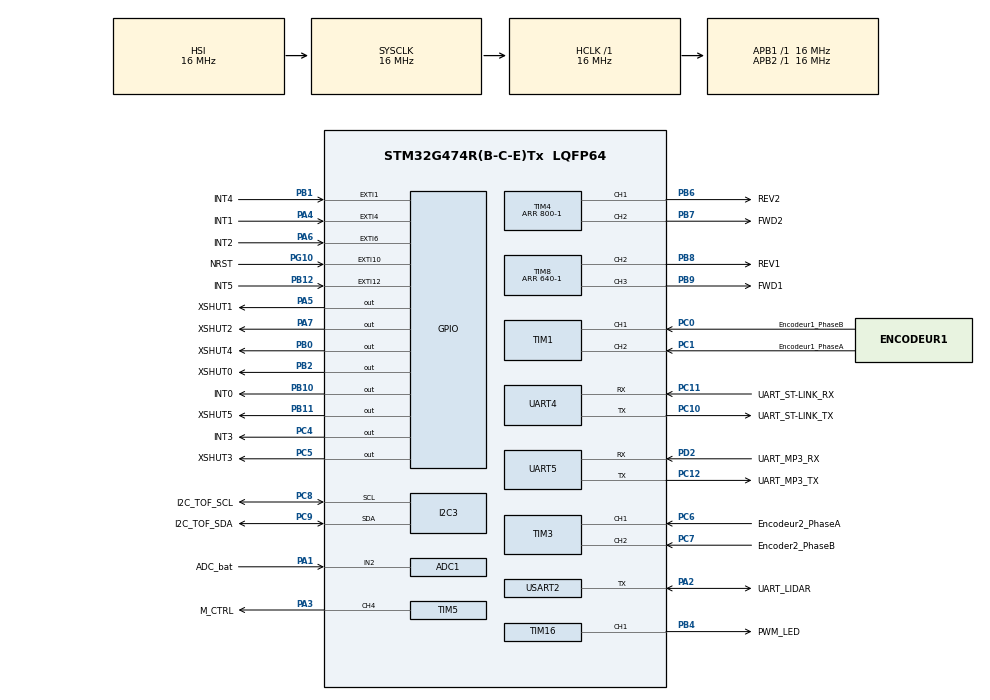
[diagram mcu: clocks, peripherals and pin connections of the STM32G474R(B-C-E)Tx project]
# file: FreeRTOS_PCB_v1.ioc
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ADC1.Channel-0\#ChannelRegularConversion=ADC_CHANNEL_2
ADC1.NbrOfConversionFlag=1
ADC1.OffsetNumber-0\#ChannelRegularConversion=ADC_OFFSET_NONE
ADC1.Rank-0\#ChannelRegularConversion=1
ADC1.SamplingTime-0\#ChannelRegularConversion=ADC_SAMPLETIME_2CYCLES_5
ADC1.master=1
Dma.Request0=USART2_RX
Dma.Request1=TIM16_CH1
Dma.TIM16_CH1.1.Direction=DMA_MEMORY_TO_PERIPH
Dma.TIM16_CH1.1.EventEnable=DISABLE
Dma.TIM16_CH1.1.Instance=DMA1_Channel2
Dma.TIM16_CH1.1.MemDataAlignment=DMA_MDATAALIGN_BYTE
Dma.TIM16_CH1.1.MemInc=DMA_MINC_ENABLE
Dma.TIM16_CH1.1.Mode=DMA_NORMAL
Dma.TIM16_CH1.1.PeriphDataAlignment=DMA_PDATAALIGN_BYTE
Dma.TIM16_CH1.1.PeriphInc=DMA_PINC_DISABLE
Dma.TIM16_CH1.1.Polarity=HAL_DMAMUX_REQ_GEN_RISING
Dma.TIM16_CH1.1.Priority=DMA_PRIORITY_VERY_HIGH
Dma.TIM16_CH1.1.RequestNumber=1
Dma.TIM16_CH1.1.SignalID=NONE
Dma.TIM16_CH1.1.SyncEnable=DISABLE
Dma.TIM16_CH1.1.SyncPolarity=HAL_DMAMUX_SYNC_NO_EVENT
Dma.TIM16_CH1.1.SyncRequestNumber=1
Dma.TIM16_CH1.1.SyncSignalID=NONE
Dma.USART2_RX.0.Direction=DMA_PERIPH_TO_MEMORY
Dma.USART2_RX.0.EventEnable=DISABLE
Dma.USART2_RX.0.Instance=DMA1_Channel1
Dma.USART2_RX.0.MemDataAlignment=DMA_MDATAALIGN_BYTE
Dma.USART2_RX.0.MemInc=DMA_MINC_ENABLE
Dma.USART2_RX.0.Mode=DMA_CIRCULAR
Dma.USART2_RX.0.PeriphDataAlignment=DMA_PDATAALIGN_BYTE
Dma.USART2_RX.0.PeriphInc=DMA_PINC_DISABLE
Dma.USART2_RX.0.Polarity=HAL_DMAMUX_REQ_GEN_RISING
Dma.USART2_RX.0.Priority=DMA_PRIORITY_HIGH
Dma.USART2_RX.0.RequestNumber=1
Dma.USART2_RX.0.SignalID=NONE
Dma.USART2_RX.0.SyncEnable=DISABLE
Dma.USART2_RX.0.SyncPolarity=HAL_DMAMUX_SYNC_NO_EVENT
Dma.USART2_RX.0.SyncRequestNumber=1
Dma.USART2_RX.0.SyncSignalID=NONE
FREERTOS.Tasks01=defaultTask,0,128,StartDefaultTask,Default,NULL,Dynamic,NULL,NULL
FREERTOS.configTOTAL_HEAP_SIZE=16384
I2C3.Timing=0x00503D58
Mcu.Family=STM32G4
Mcu.Name=STM32G474R(B-C-E)Tx
Mcu.Package=LQFP64
NVIC.ADC1_2_IRQn=true\:5\:0\:false\:false\:true\:true\:true\:true\:true
NVIC.DMA1_Channel1_IRQn=true\:5\:0\:false\:false\:true\:true\:false\:true\:true
NVIC.DMA1_Channel2_IRQn=true\:5\:0\:false\:false\:true\:true\:false\:true\:true
NVIC.EXTI15_10_IRQn=true\:5\:0\:false\:false\:true\:true\:true\:true\:true
NVIC.EXTI1_IRQn=true\:5\:0\:false\:false\:true\:true\:true\:true\:true
NVIC.EXTI4_IRQn=true\:5\:0\:false\:false\:true\:true\:true\:true\:true
NVIC.EXTI9_5_IRQn=true\:5\:0\:false\:false\:true\:true\:true\:true\:true
NVIC.PriorityGroup=NVIC_PRIORITYGROUP_4
NVIC.USART2_IRQn=true\:5\:0\:false\:false\:true\:true\:true\:true\:true
PA1.GPIO_Label=ADC_bat
PA1.Mode=IN2-Single-Ended
PA1.Signal=ADC1_IN2
PA13.Mode=Serial_Wire
PA13.Signal=SYS_JTMS-SWDIO
PA14.Mode=Serial_Wire
PA14.Signal=SYS_JTCK-SWCLK
PA2.GPIO_Label=UART_LIDAR
PA2.Mode=Half_duplex(single_wire_mode)
PA2.Signal=USART2_TX
PA3.GPIO_Label=M_CTRL
PA3.Signal=S_TIM5_CH4
PA4.GPIO_Label=INT1
PA4.Signal=GPXTI4
PA5.GPIO_Label=XSHUT1
PA5.Signal=GPIO_Output
PA6.GPIO_Label=INT2
PA6.Signal=GPXTI6
PA7.GPIO_Label=XSHUT2
PA7.Signal=GPIO_Output
PB0.GPIO_Label=XSHUT4
PB0.Signal=GPIO_Output
PB1.GPIO_Label=INT4
PB1.Signal=GPXTI1
PB10.GPIO_Label=INT0
PB10.Signal=GPIO_Output
PB11.GPIO_Label=XSHUT5
PB11.Signal=GPIO_Output
PB12.GPIO_Label=INT5
PB12.Signal=GPXTI12
PB2.GPIO_Label=XSHUT0
PB2.Signal=GPIO_Output
PB4.GPIO_Label=PWM_LED
PB4.Signal=S_TIM16_CH1
PB6.GPIO_Label=REV2
PB6.Signal=S_TIM4_CH1
PB7.GPIO_Label=FWD2
PB7.Signal=S_TIM4_CH2
PB8-BOOT0.GPIO_Label=REV1
PB8-BOOT0.Signal=S_TIM8_CH2
PB9.GPIO_Label=FWD1
PB9.Signal=S_TIM8_CH3
PC0.GPIO_Label=Encodeur1_PhaseB
PC0.Signal=S_TIM1_CH1
PC1.GPIO_Label=Encodeur1_PhaseA
PC1.Signal=S_TIM1_CH2
PC10.GPIO_Label=UART_ST-LINK_TX
PC10.Mode=Asynchronous
PC10.Signal=UART4_TX
PC11.GPIO_Label=UART_ST-LINK_RX
PC11.Mode=Asynchronous
PC11.Signal=UART4_RX
PC12.GPIO_Label=UART_MP3_TX
PC12.Mode=Asynchronous
PC12.Signal=UART5_TX
PC4.GPIO_Label=INT3
PC4.Signal=GPIO_Output
PC5.GPIO_Label=XSHUT3
PC5.Signal=GPIO_Output
PC6.GPIO_Label=Encodeur2_PhaseA
PC6.Signal=S_TIM3_CH1
PC7.GPIO_Label=Encoder2_PhaseB
PC7.Signal=S_TIM3_CH2
PC8.GPIO_Label=I2C_TOF_SCL
PC8.Mode=I2C
PC8.Signal=I2C3_SCL
PC9.GPIO_Label=I2C_TOF_SDA
PC9.Mode=I2C
PC9.Signal=I2C3_SDA
PD2.GPIO_Label=UART_MP3_RX
PD2.Mode=Asynchronous
PD2.Signal=UART5_RX
PG10-NRST.GPIO_Label=NRST
PG10-NRST.Signal=GPXTI10
ProjectManager.HeapSize=0x200
ProjectManager.StackSize=0x400
ProjectManager.TargetToolchain=CMake
RCC.AHBFreq_Value=16000000
RCC.APB1Freq_Value=16000000
RCC.APB1TimFreq_Value=16000000
RCC.APB2Freq_Value=16000000
RCC.APB2TimFreq_Value=16000000
RCC.CortexFreq_Value=16000000
RCC.EXTERNAL_CLOCK_VALUE=12288000
RCC.HCLKFreq_Value=16000000
RCC.HSE_VALUE=8000000
RCC.HSI48_VALUE=48000000
RCC.HSI_VALUE=16000000
RCC.LSE_VALUE=32768
RCC.SYSCLKFreq_VALUE=16000000
RCC.USBFreq_Value=64000000
RCC.VCOOutputFreq_Value=128000000
SH.S_TIM16_CH1.0=TIM16_CH1,PWM Generation1 CH1
SH.S_TIM1_CH1.0=TIM1_CH1,Encoder_Interface
SH.S_TIM1_CH2.0=TIM1_CH2,Encoder_Interface
SH.S_TIM3_CH1.0=TIM3_CH1,Encoder_Interface
SH.S_TIM3_CH2.0=TIM3_CH2,Encoder_Interface
SH.S_TIM4_CH1.0=TIM4_CH1,PWM Generation1 CH1
SH.S_TIM4_CH2.0=TIM4_CH2,PWM Generation2 CH2
SH.S_TIM5_CH4.0=TIM5_CH4,PWM Generation4 CH4
SH.S_TIM8_CH2.0=TIM8_CH2,PWM Generation2 CH2
SH.S_TIM8_CH3.0=TIM8_CH3,PWM Generation3 CH3
TIM16.Channel=TIM_CHANNEL_1
TIM16.PeriodNoDither=100-1
TIM4.Channel-PWM\ Generation1\ CH1=TIM_CHANNEL_1
TIM4.Channel-PWM\ Generation2\ CH2=TIM_CHANNEL_2
TIM4.PeriodNoDither=800-1
TIM5.Channel-PWM\ Generation4\ CH4=TIM_CHANNEL_4
TIM5.PeriodNoDither=1600-1
TIM8.Channel-PWM\ Generation2\ CH2=TIM_CHANNEL_2
TIM8.Channel-PWM\ Generation3\ CH3=TIM_CHANNEL_3
TIM8.PeriodNoDither=640-1
USART2.Mode=MODE_TX_RX
USART2.VirtualMode-Half_duplex(single_wire_mode)=VM_ASYNC
VP_FREERTOS_VS_CMSIS_V1.Mode=CMSIS_V1
VP_SYS_VS_DBSignals.Mode=DisableDeadBatterySignals
VP_TIM16_VS_ClockSourceINT.Mode=Enable_Timer
VP_TIM4_VS_ClockSourceINT.Mode=Internal
VP_TIM8_VS_ClockSourceINT.Mode=Internal
board=custom

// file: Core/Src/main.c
/* USER CODE BEGIN Header */
/**
 ******************************************************************************
 * @file           : main.c
 * @brief          : Main program body
 ******************************************************************************
 * @attention
 *
 * Copyright (c) 2025 STMicroelectronics.
 * All rights reserved.
 *
 * This software is licensed under terms that can be found in the LICENSE file
 * in the root directory of this software component.
 * If no LICENSE file comes with this software, it is provided AS-IS.
 *
 ******************************************************************************
 */
/* USER CODE END Header */
#include "main.h"
#include "cmsis_os.h"
#include "adc.h"
#include "dma.h"
#include "i2c.h"
#include "tim.h"
#include "usart.h"
#include "gpio.h"

/* USER CODE BEGIN Includes */
#include "tof.h"
#include "vl53l0x_api.h"
#include "vl53l0x_device.h"
#include <stdio.h>
#include "motors.h"
#include "lidar.h"
#include "brillez.h"
/* USER CODE END Includes */

void SystemClock_Config(void);
void MX_FREERTOS_Init(void);

/* USER CODE BEGIN 0 */
int __io_putchar(int ch) {
	HAL_UART_Transmit(&huart4, (uint8_t *)&ch, 1, HAL_MAX_DELAY);
	return ch;
}

static TaskHandle_t MotorTaskHandle;
static TaskHandle_t TOFTaskHandle;
SemaphoreHandle_t semMotorEnable;

void task_motors(void * unused){
  while(1){
    xSemaphoreTake(semMotorEnable, portMAX_DELAY);
    motor_forward(60, 'R', 0);
    motor_forward(50, 'L', 0);
    vTaskDelay(pdMS_TO_TICKS(50));
  }
}

void task_tofs(void *unused){
  while (1){
    bool obstacle = false;

    for (uint8_t i = 0; i < 6; i++){
      if (VL53L0X_IsAboveThreshold(i)){
        obstacle = true;
        break;
      }
    }

    if (obstacle){
      xSemaphoreTake(semMotorEnable, 0);

      motors_stop_all();

      motor_backward(60, 'R', 0);
      motor_backward(50, 'L', 0);
      vTaskDelay(pdMS_TO_TICKS(1200));

      motors_stop_all();

      motor_turn(40, 60, 'F', 0);
      vTaskDelay(pdMS_TO_TICKS(500));
    }
    else{
      xSemaphoreGive(semMotorEnable);
    }

    vTaskDelay(pdMS_TO_TICKS(50));
  }
}

/* USER CODE END 0 */

int main(void)
{

  /* MCU Configuration--------------------------------------------------------*/

  /* Reset of all peripherals, Initializes the Flash interface and the Systick. */
  HAL_Init();

  /* Configure the system clock */
  SystemClock_Config();

  /* Initialize all configured peripherals */
  MX_GPIO_Init();
  MX_DMA_Init();
  MX_ADC1_Init();
  MX_I2C3_Init();
  MX_TIM1_Init();
  MX_TIM3_Init();
  MX_TIM4_Init();
  MX_TIM8_Init();
  MX_TIM16_Init();
  MX_UART4_Init();
  MX_UART5_Init();
  MX_USART2_UART_Init();
  MX_TIM5_Init();
  /* USER CODE BEGIN 2 */

  printf("TEST 12\r\n");
  HAL_TIM_PWM_Start(&htim5, TIM_CHANNEL_4);
  __HAL_TIM_SET_COMPARE(&htim5, TIM_CHANNEL_4, 0);

	printf("TEST TOFs\r\n");
	VL53L0X_InitAllSensor();
  printf("TEST MOTORS left 53\r\n");
  motors_init();
  printf("TEST LEDS\r\n");
  printf("LEDS INITIALIZED\r\n");
  printf("MOTORS INITIALIZED\r\n");
  printf("WAITING 5 SEC\r\n");
  HAL_Delay(500);
  printf("STARTING TESTS\r\n");

    semMotorEnable = xSemaphoreCreateBinary();
    if (semMotorEnable == NULL) {
      while(1);
    }
    xSemaphoreGive(semMotorEnable);

  if (xTaskCreate(task_motors, "MOTORS", 256, NULL, 3, &MotorTaskHandle) != pdPASS){
		printf("Error creating task b1");
		Error_Handler();
	}
  else{
    printf("Motor task created\r\n");
  }

  if(xTaskCreate(task_tofs, "TOFS", 512, NULL, 2, &TOFTaskHandle) != pdPASS){
    printf("Error creating task test tofs");
    Error_Handler();
  }
  else{
    printf("TOF task created\r\n");
  }

  vTaskStartScheduler();

  /* USER CODE END 2 */

  /* Call init function for freertos objects (in cmsis_os2.c) */
  MX_FREERTOS_Init();

  /* Start scheduler */
  osKernelStart();

  /* We should never get here as control is now taken by the scheduler */

  /* Infinite loop */
  /* USER CODE BEGIN WHILE */
	while (1)
	{

    // motor_forward(40, 'R');
    // HAL_Delay(5000);
    // motor_stop_right();
    // HAL_Delay(5000);

// #################################### TOF
		// VL53L0X_IsAboveThreshold(0);
    // HAL_Delay(1000);
    // VL53L0X_IsAboveThreshold(1);
    // HAL_Delay(1000);
    // VL53L0X_IsAboveThreshold(2);
    // HAL_Delay(1000);
    // VL53L0X_IsAboveThreshold(3);
    // HAL_Delay(1000);
    // VL53L0X_IsAboveThreshold(4);
    // HAL_Delay(1000);
    // VL53L0X_IsAboveThreshold(5);
    // HAL_Delay(1000);
// #################################### TOF

// #################################### MOTORS

    // motor_forward(60, 'R');
    // // motor_forward(20, 'L');
    // HAL_Delay(5000);
    // motor_backward(40, 'R');
    // // motor_backward(80,'L');
    // HAL_Delay(3000);
// #################################### MOTORS

    /* USER CODE END WHILE */

	}
}

void SystemClock_Config(void)
{
  RCC_OscInitTypeDef RCC_OscInitStruct = {0};
  RCC_ClkInitTypeDef RCC_ClkInitStruct = {0};

  /** Configure the main internal regulator output voltage
  */
  HAL_PWREx_ControlVoltageScaling(PWR_REGULATOR_VOLTAGE_SCALE1);

  /** Initializes the RCC Oscillators according to the specified parameters
  * in the RCC_OscInitTypeDef structure.
  */
  RCC_OscInitStruct.OscillatorType = RCC_OSCILLATORTYPE_HSI;
  RCC_OscInitStruct.HSIState = RCC_HSI_ON;
  RCC_OscInitStruct.HSICalibrationValue = RCC_HSICALIBRATION_DEFAULT;
  RCC_OscInitStruct.PLL.PLLState = RCC_PLL_NONE;
  if (HAL_RCC_OscConfig(&RCC_OscInitStruct) != HAL_OK)
  {
    Error_Handler();
  }

  /** Initializes the CPU, AHB and APB buses clocks
  */
  RCC_ClkInitStruct.ClockType = RCC_CLOCKTYPE_HCLK|RCC_CLOCKTYPE_SYSCLK
                              |RCC_CLOCKTYPE_PCLK1|RCC_CLOCKTYPE_PCLK2;
  RCC_ClkInitStruct.SYSCLKSource = RCC_SYSCLKSOURCE_HSI;
  RCC_ClkInitStruct.AHBCLKDivider = RCC_SYSCLK_DIV1;
  RCC_ClkInitStruct.APB1CLKDivider = RCC_HCLK_DIV1;
  RCC_ClkInitStruct.APB2CLKDivider = RCC_HCLK_DIV1;

  if (HAL_RCC_ClockConfig(&RCC_ClkInitStruct, FLASH_LATENCY_0) != HAL_OK)
  {
    Error_Handler();
  }
}

void Error_Handler(void)
{
	__disable_irq();
	while (1)
	{
	}
}
